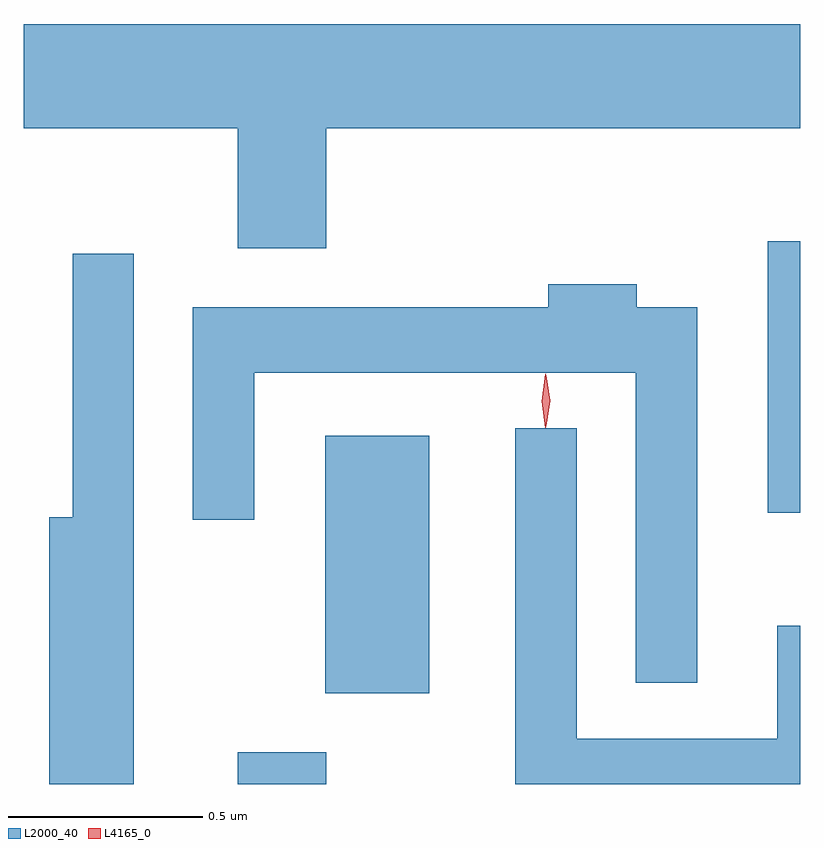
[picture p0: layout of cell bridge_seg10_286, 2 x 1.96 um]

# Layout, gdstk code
import gdstk
lib = gdstk.Library(unit=1e-6, precision=1e-09)
def R(c, l, rs):  # rectangles x0, y0, x1, y1
    for r in rs: c.add(gdstk.rectangle(r[:2], r[2:], *l))
def P(c, l, *ps):  # polygons
    for p in ps: c.add(gdstk.Polygon(p, *l))
L2000_40 = (2000, 40)
L4165_0 = (4165, 0)

bridge_seg10_286 = lib.new_cell('bridge_seg10_286')
R(bridge_seg10_286, L2000_40, [(1806.041,2101.127,1806.269,2101.209), (1806.266,2101.361,1806.534,2102.024), (1807.406,2101.826,1807.49,2102.524)])
P(bridge_seg10_286, L2000_40, [(1806.269,2102.816),(1807.49,2102.816),(1807.49,2103.084),(1805.49,2103.084),(1805.49,2102.816),(1806.041,2102.816),(1806.041,2102.506),(1806.269,2102.506)],
  [(1805.774,2102.493),(1805.616,2102.493),(1805.616,2101.814),(1805.556,2101.814),(1805.556,2101.127),(1805.774,2101.127)],
  [(1807.224,2102.354),(1807.069,2102.354),(1807.069,2102.414),(1806.841,2102.414),(1806.841,2102.354),(1805.926,2102.354),(1805.926,2101.808),(1806.084,2101.808),(1806.084,2102.186),(1807.066,2102.186),(1807.066,2101.388),(1807.224,2101.388)],
  [(1807.49,2101.534),(1807.431,2101.534),(1807.431,2101.244),(1806.914,2101.244),(1806.914,2102.043),(1806.756,2102.043),(1806.756,2101.127),(1807.49,2101.127)])
P(bridge_seg10_286, L4165_0, [(1806.835,2102.047),(1806.835,2102.048),(1806.826,2102.114),(1806.835,2102.18),(1806.836,2102.18),(1806.836,2102.18),(1806.846,2102.114),(1806.836,2102.048)],
  [(1806.833,2102.044),(1806.824,2102.113),(1806.833,2102.182),(1806.834,2102.183),(1806.834,2102.182),(1806.844,2102.113),(1806.834,2102.044),(1806.834,2102.044)])

lib.write_gds('bridge_seg10_286.gds')
